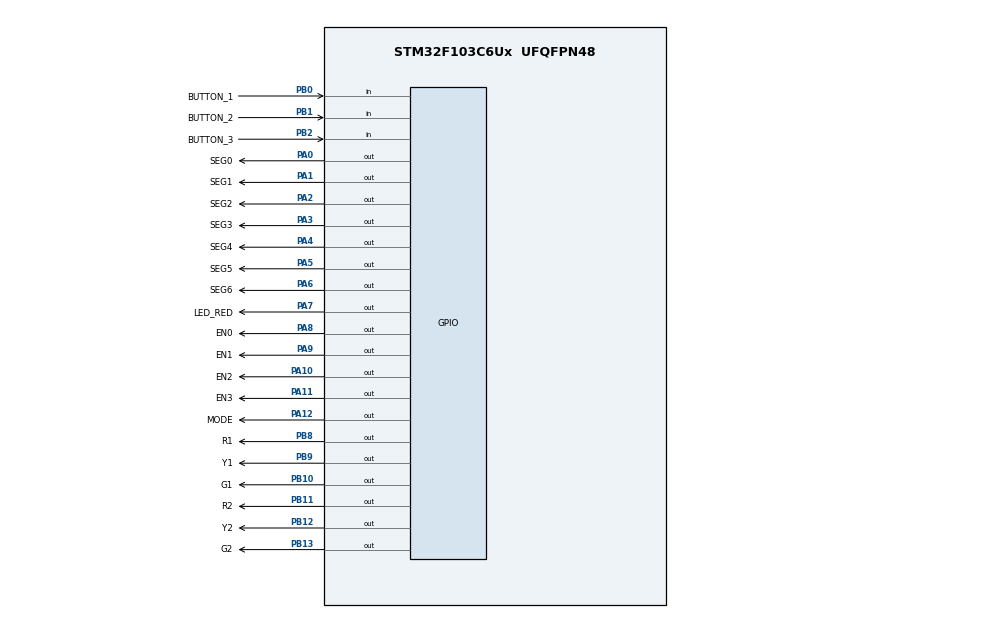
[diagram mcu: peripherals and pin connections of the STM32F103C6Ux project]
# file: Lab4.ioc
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Mcu.Family=STM32F1
Mcu.Name=STM32F103C6Ux
Mcu.Package=UFQFPN48
NVIC.PriorityGroup=NVIC_PRIORITYGROUP_4
NVIC.TIM2_IRQn=true\:0\:0\:false\:false\:true\:true\:true
PA0-WKUP.GPIO_Label=SEG0
PA0-WKUP.Signal=GPIO_Output
PA1.GPIO_Label=SEG1
PA1.Signal=GPIO_Output
PA10.GPIO_Label=EN2
PA10.Signal=GPIO_Output
PA11.GPIO_Label=EN3
PA11.Signal=GPIO_Output
PA12.GPIO_Label=MODE
PA12.Signal=GPIO_Output
PA2.GPIO_Label=SEG2
PA2.Signal=GPIO_Output
PA3.GPIO_Label=SEG3
PA3.Signal=GPIO_Output
PA4.GPIO_Label=SEG4
PA4.Signal=GPIO_Output
PA5.GPIO_Label=SEG5
PA5.Signal=GPIO_Output
PA6.GPIO_Label=SEG6
PA6.Signal=GPIO_Output
PA7.GPIO_Label=LED_RED
PA7.Signal=GPIO_Output
PA8.GPIO_Label=EN0
PA8.Signal=GPIO_Output
PA9.GPIO_Label=EN1
PA9.Signal=GPIO_Output
PB0.GPIO_Label=BUTTON_1
PB0.Signal=GPIO_Input
PB1.GPIO_Label=BUTTON_2
PB1.Signal=GPIO_Input
PB10.GPIO_Label=G1
PB10.Signal=GPIO_Output
PB11.GPIO_Label=R2
PB11.Signal=GPIO_Output
PB12.GPIO_Label=Y2
PB12.Signal=GPIO_Output
PB13.GPIO_Label=G2
PB13.Signal=GPIO_Output
PB2.GPIO_Label=BUTTON_3
PB2.Signal=GPIO_Input
PB8.GPIO_Label=R1
PB8.Signal=GPIO_Output
PB9.GPIO_Label=Y1
PB9.Signal=GPIO_Output
ProjectManager.HeapSize=0x200
ProjectManager.StackSize=0x400
ProjectManager.TargetToolchain=STM32CubeIDE
RCC.APB1Freq_Value=8000000
RCC.APB2Freq_Value=8000000
TIM2.Period=9
TIM2.Prescaler=7999
VP_SYS_VS_ND.Mode=No_Debug
VP_TIM2_VS_ClockSourceINT.Mode=Internal
board=custom

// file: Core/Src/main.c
/* USER CODE BEGIN Header */
/**
  ******************************************************************************
  * @file           : main.c
  * @brief          : Main program body
  ******************************************************************************
  * @attention
  *
  * <h2><center>&copy; Copyright (c) 2024 STMicroelectronics.
  * All rights reserved.</center></h2>
  *
  * This software component is licensed by ST under BSD 3-Clause license,
  * the "License"; You may not use this file except in compliance with the
  * License. You may obtain a copy of the License at:
  *                        opensource.org/licenses/BSD-3-Clause
  *
  ******************************************************************************
  */
/* USER CODE END Header */
#include "main.h"

/* USER CODE BEGIN Includes */
#include "tasks.h"
#include "scheduler.h"
#include "fsm_automatic.h"
#include "fsm_manual.h"
#include "button.h"
#include "led_display.h"
#include "global.h"
/* USER CODE END Includes */

TIM_HandleTypeDef htim2;

void SystemClock_Config(void);
static void MX_GPIO_Init(void);
static void MX_TIM2_Init(void);

int main(void)
{
  /* USER CODE BEGIN 1 */
	// Khởi tạo các giá trị toàn cục
	init_buffer();
	LedTimeDurationInit();
//	SCH_Add_Task(init_buffer, 1, 1);
//	SCH_Add_Task(LedTimeDurationInit,1, 1);
	// Thêm các task vào scheduler
//	SCH_Add_Task(NormalMode, 1, 100);
	SCH_Add_Task(fsm_automatic, 1, 100);
//	SCH_Add_Task(toggle_red, 50, 1);
//	SCH_Add_Task(toggle_yellow, 50, 1);
//	SCH_Add_Task(toggle_green, 50, 1);
	SCH_Add_Task(fsm_manual,2, 1);
	SCH_Add_Task(toggle_led, 50, 1000);
	SCH_Add_Task(LEDScanning, 0, 1);
	// Thêm task đọc nút nhấn vào scheduler
	  SCH_Add_Task(button_reading, 1, 1);  // Đọc nút nhấn mỗi 10ms
  /* USER CODE END 1 */

  /* MCU Configuration--------------------------------------------------------*/

  /* Reset of all peripherals, Initializes the Flash interface and the Systick. */
  HAL_Init();

  /* Configure the system clock */
  SystemClock_Config();

  /* Initialize all configured peripherals */
  MX_GPIO_Init();
  MX_TIM2_Init();
  /* USER CODE BEGIN 2 */
  HAL_TIM_Base_Start_IT(&htim2);
  SCH_Add_Task(toggle_led, 50, 100);
  /* USER CODE END 2 */

  /* Infinite loop */
  /* USER CODE BEGIN WHILE */
  while (1)
  {
	  SCH_Dispatch_Tasks();
    /* USER CODE END WHILE */

  }
}

void SystemClock_Config(void)
{
  RCC_OscInitTypeDef RCC_OscInitStruct = {0};
  RCC_ClkInitTypeDef RCC_ClkInitStruct = {0};

  /** Initializes the RCC Oscillators according to the specified parameters
  * in the RCC_OscInitTypeDef structure.
  */
  RCC_OscInitStruct.OscillatorType = RCC_OSCILLATORTYPE_HSI;
  RCC_OscInitStruct.HSIState = RCC_HSI_ON;
  RCC_OscInitStruct.HSICalibrationValue = RCC_HSICALIBRATION_DEFAULT;
  RCC_OscInitStruct.PLL.PLLState = RCC_PLL_NONE;
  if (HAL_RCC_OscConfig(&RCC_OscInitStruct) != HAL_OK)
  {
    Error_Handler();
  }
  /** Initializes the CPU, AHB and APB buses clocks
  */
  RCC_ClkInitStruct.ClockType = RCC_CLOCKTYPE_HCLK|RCC_CLOCKTYPE_SYSCLK
                              |RCC_CLOCKTYPE_PCLK1|RCC_CLOCKTYPE_PCLK2;
  RCC_ClkInitStruct.SYSCLKSource = RCC_SYSCLKSOURCE_HSI;
  RCC_ClkInitStruct.AHBCLKDivider = RCC_SYSCLK_DIV1;
  RCC_ClkInitStruct.APB1CLKDivider = RCC_HCLK_DIV1;
  RCC_ClkInitStruct.APB2CLKDivider = RCC_HCLK_DIV1;

  if (HAL_RCC_ClockConfig(&RCC_ClkInitStruct, FLASH_LATENCY_0) != HAL_OK)
  {
    Error_Handler();
  }
}

static void MX_TIM2_Init(void)
{

  TIM_ClockConfigTypeDef sClockSourceConfig = {0};
  TIM_MasterConfigTypeDef sMasterConfig = {0};

  htim2.Instance = TIM2;
  htim2.Init.Prescaler = 7999;
  htim2.Init.CounterMode = TIM_COUNTERMODE_UP;
  htim2.Init.Period = 9;
  htim2.Init.ClockDivision = TIM_CLOCKDIVISION_DIV1;
  htim2.Init.AutoReloadPreload = TIM_AUTORELOAD_PRELOAD_DISABLE;
  if (HAL_TIM_Base_Init(&htim2) != HAL_OK)
  {
    Error_Handler();
  }
  sClockSourceConfig.ClockSource = TIM_CLOCKSOURCE_INTERNAL;
  if (HAL_TIM_ConfigClockSource(&htim2, &sClockSourceConfig) != HAL_OK)
  {
    Error_Handler();
  }
  sMasterConfig.MasterOutputTrigger = TIM_TRGO_RESET;
  sMasterConfig.MasterSlaveMode = TIM_MASTERSLAVEMODE_DISABLE;
  if (HAL_TIMEx_MasterConfigSynchronization(&htim2, &sMasterConfig) != HAL_OK)
  {
    Error_Handler();
  }

}

static void MX_GPIO_Init(void)
{
  GPIO_InitTypeDef GPIO_InitStruct = {0};

  /* GPIO Ports Clock Enable */
  __HAL_RCC_GPIOA_CLK_ENABLE();
  __HAL_RCC_GPIOB_CLK_ENABLE();

  /*Configure GPIO pin Output Level */
  HAL_GPIO_WritePin(GPIOA, SEG0_Pin|SEG1_Pin|SEG2_Pin|SEG3_Pin
                          |SEG4_Pin|SEG5_Pin|SEG6_Pin|LED_RED_Pin
                          |EN0_Pin|EN1_Pin|EN2_Pin|EN3_Pin
                          |MODE_Pin, GPIO_PIN_RESET);

  /*Configure GPIO pin Output Level */
  HAL_GPIO_WritePin(GPIOB, G1_Pin|R2_Pin|Y2_Pin|G2_Pin
                          |R1_Pin|Y1_Pin, GPIO_PIN_RESET);

  /*Configure GPIO pins : SEG0_Pin SEG1_Pin SEG2_Pin SEG3_Pin
                           SEG4_Pin SEG5_Pin SEG6_Pin LED_RED_Pin
                           EN0_Pin EN1_Pin EN2_Pin EN3_Pin
                           MODE_Pin */
  GPIO_InitStruct.Pin = SEG0_Pin|SEG1_Pin|SEG2_Pin|SEG3_Pin
                          |SEG4_Pin|SEG5_Pin|SEG6_Pin|LED_RED_Pin
                          |EN0_Pin|EN1_Pin|EN2_Pin|EN3_Pin
                          |MODE_Pin;
  GPIO_InitStruct.Mode = GPIO_MODE_OUTPUT_PP;
  GPIO_InitStruct.Pull = GPIO_NOPULL;
  GPIO_InitStruct.Speed = GPIO_SPEED_FREQ_LOW;
  HAL_GPIO_Init(GPIOA, &GPIO_InitStruct);

  /*Configure GPIO pins : BUTTON_1_Pin BUTTON_2_Pin BUTTON_3_Pin */
  GPIO_InitStruct.Pin = BUTTON_1_Pin|BUTTON_2_Pin|BUTTON_3_Pin;
  GPIO_InitStruct.Mode = GPIO_MODE_INPUT;
  GPIO_InitStruct.Pull = GPIO_NOPULL;
  HAL_GPIO_Init(GPIOB, &GPIO_InitStruct);

  /*Configure GPIO pins : G1_Pin R2_Pin Y2_Pin G2_Pin
                           R1_Pin Y1_Pin */
  GPIO_InitStruct.Pin = G1_Pin|R2_Pin|Y2_Pin|G2_Pin
                          |R1_Pin|Y1_Pin;
  GPIO_InitStruct.Mode = GPIO_MODE_OUTPUT_PP;
  GPIO_InitStruct.Pull = GPIO_NOPULL;
  GPIO_InitStruct.Speed = GPIO_SPEED_FREQ_LOW;
  HAL_GPIO_Init(GPIOB, &GPIO_InitStruct);

}

/* USER CODE BEGIN 4 */
void HAL_TIM_PeriodElapsedCallback(TIM_HandleTypeDef * htim){
	SCH_Update();
}
/* USER CODE END 4 */

void Error_Handler(void)
{
  __disable_irq();
  while (1)
  {
  }
}

/************************ (C) COPYRIGHT STMicroelectronics *****END OF FILE****/
